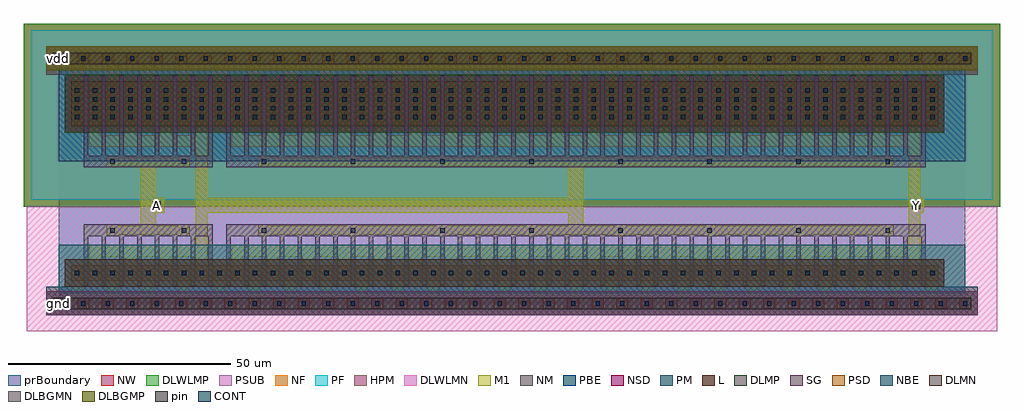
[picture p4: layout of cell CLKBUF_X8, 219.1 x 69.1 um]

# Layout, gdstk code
import gdstk
lib = gdstk.Library(unit=1e-6, precision=1e-09)
def R(c, l, rs):  # rectangles x0, y0, x1, y1
    for r in rs: c.add(gdstk.rectangle(r[:2], r[2:], *l))
def A(c, l, x, y, w, h, nx, ny, dx, dy):  # array of equal rectangles
    R(c, l, [(x+i*dx, y+j*dy, x+i*dx+w, y+j*dy+h) for i in range(nx) for j in range(ny)])
def P(c, l, *ps):  # polygons
    for p in ps: c.add(gdstk.Polygon(p, *l))
L = (3, 0)
NM = (7, 0)
SG = (8, 0)
PSD = (9, 0)
CONT = (11, 0)
M1 = (13, 0)
NF = (25, 0)
PF = (26, 0)
NSD = (28, 0)
HPM = (33, 0)
PM = (35, 0)
NW = (36, 0)
pin = (48, 1)
PSUB = (140, 0)
PBE = (146, 0)
NBE = (147, 0)
DLWLMP = (150, 0)
DLWLMN = (151, 0)
DLMP = (157, 0)
DLMN = (158, 0)
DLBGMP = (177, 0)
DLBGMN = (178, 0)
prBoundary = (235, 0)

clkbuf_x8 = lib.new_cell('CLKBUF_X8')
A(clkbuf_x8, L, -1.3, -1.3, 2.6, 2.6, 38, 2, 5.5, 55)
R(clkbuf_x8, L, [(2.8,5.1,197.4,8.5), (2.8,39.7,197.4,49.9)])
R(clkbuf_x8, NM, [(-2.75,-2.7,206.25,2.7)])
P(clkbuf_x8, NM, [(1.4,38.3),(1.4,51.3),(-2.75,51.3),(-2.75,57.7),(206.25,57.7),(206.25,51.3),(198.8,51.3),(198.8,38.3)])
P(clkbuf_x8, SG, [(5.6,3.9),(5.6,17.7),(34.6,17.7),(34.6,3.9),(33.6,3.9),(33.6,15.1),(30.6,15.1),(30.6,3.9),(29.6,3.9),(29.6,15.1),(26.6,15.1),(26.6,3.9),(25.6,3.9),(25.6,15.1),(22.6,15.1),(22.6,3.9),(21.6,3.9),(21.6,15.1),(18.6,15.1),(18.6,3.9),(17.6,3.9),(17.6,15.1),(14.6,15.1),(14.6,3.9),(13.6,3.9),(13.6,15.1),(10.6,15.1),(10.6,3.9),(9.6,3.9),(9.6,15.1),(6.6,15.1),(6.6,3.9)],
  [(37.6,3.9),(37.6,17.7),(194.6,17.7),(194.6,3.9),(193.6,3.9),(193.6,15.1),(190.6,15.1),(190.6,3.9),(189.6,3.9),(189.6,15.1),(186.6,15.1),(186.6,3.9),(185.6,3.9),(185.6,15.1),(182.6,15.1),(182.6,3.9),(181.6,3.9),(181.6,15.1),(178.6,15.1),(178.6,3.9),(177.6,3.9),(177.6,15.1),(174.6,15.1),(174.6,3.9),(173.6,3.9),(173.6,15.1),(170.6,15.1),(170.6,3.9),(169.6,3.9),(169.6,15.1),(166.6,15.1),(166.6,3.9),(165.6,3.9),(165.6,15.1),(162.6,15.1),(162.6,3.9),(161.6,3.9),(161.6,15.1),(158.6,15.1),(158.6,3.9),(157.6,3.9),(157.6,15.1),(154.6,15.1),(154.6,3.9),(153.6,3.9),(153.6,15.1),(150.6,15.1),(150.6,3.9),(149.6,3.9),(149.6,15.1),(146.6,15.1),(146.6,3.9),(145.6,3.9),(145.6,15.1),(142.6,15.1),(142.6,3.9),(141.6,3.9),(141.6,15.1),(138.6,15.1),(138.6,3.9),(137.6,3.9),(137.6,15.1),(134.6,15.1),(134.6,3.9),(133.6,3.9),(133.6,15.1),(130.6,15.1),(130.6,3.9),(129.6,3.9),(129.6,15.1),(126.6,15.1),(126.6,3.9),(125.6,3.9),(125.6,15.1),(122.6,15.1),(122.6,3.9),(121.6,3.9),(121.6,15.1),(118.6,15.1),(118.6,3.9),(117.6,3.9),(117.6,15.1),(114.6,15.1),(114.6,3.9),(113.6,3.9),(113.6,15.1),(110.6,15.1),(110.6,3.9),(109.6,3.9),(109.6,15.1),(106.6,15.1),(106.6,3.9),(105.6,3.9),(105.6,15.1),(102.6,15.1),(102.6,3.9),(101.6,3.9),(101.6,15.1),(98.6,15.1),(98.6,3.9),(97.6,3.9),(97.6,15.1),(94.6,15.1),(94.6,3.9),(93.6,3.9),(93.6,15.1),(90.6,15.1),(90.6,3.9),(89.6,3.9),(89.6,15.1),(86.6,15.1),(86.6,3.9),(85.6,3.9),(85.6,15.1),(82.6,15.1),(82.6,3.9),(81.6,3.9),(81.6,15.1),(78.6,15.1),(78.6,3.9),(77.6,3.9),(77.6,15.1),(74.6,15.1),(74.6,3.9),(73.6,3.9),(73.6,15.1),(70.6,15.1),(70.6,3.9),(69.6,3.9),(69.6,15.1),(66.6,15.1),(66.6,3.9),(65.6,3.9),(65.6,15.1),(62.6,15.1),(62.6,3.9),(61.6,3.9),(61.6,15.1),(58.6,15.1),(58.6,3.9),(57.6,3.9),(57.6,15.1),(54.6,15.1),(54.6,3.9),(53.6,3.9),(53.6,15.1),(50.6,15.1),(50.6,3.9),(49.6,3.9),(49.6,15.1),(46.6,15.1),(46.6,3.9),(45.6,3.9),(45.6,15.1),(42.6,15.1),(42.6,3.9),(41.6,3.9),(41.6,15.1),(38.6,15.1),(38.6,3.9)],
  [(5.6,30.5),(5.6,51.1),(6.6,51.1),(6.6,33.1),(9.6,33.1),(9.6,51.1),(10.6,51.1),(10.6,33.1),(13.6,33.1),(13.6,51.1),(14.6,51.1),(14.6,33.1),(17.6,33.1),(17.6,51.1),(18.6,51.1),(18.6,33.1),(21.6,33.1),(21.6,51.1),(22.6,51.1),(22.6,33.1),(25.6,33.1),(25.6,51.1),(26.6,51.1),(26.6,33.1),(29.6,33.1),(29.6,51.1),(30.6,51.1),(30.6,33.1),(33.6,33.1),(33.6,51.1),(34.6,51.1),(34.6,30.5)],
  [(37.6,30.5),(37.6,51.1),(38.6,51.1),(38.6,33.1),(41.6,33.1),(41.6,51.1),(42.6,51.1),(42.6,33.1),(45.6,33.1),(45.6,51.1),(46.6,51.1),(46.6,33.1),(49.6,33.1),(49.6,51.1),(50.6,51.1),(50.6,33.1),(53.6,33.1),(53.6,51.1),(54.6,51.1),(54.6,33.1),(57.6,33.1),(57.6,51.1),(58.6,51.1),(58.6,33.1),(61.6,33.1),(61.6,51.1),(62.6,51.1),(62.6,33.1),(65.6,33.1),(65.6,51.1),(66.6,51.1),(66.6,33.1),(69.6,33.1),(69.6,51.1),(70.6,51.1),(70.6,33.1),(73.6,33.1),(73.6,51.1),(74.6,51.1),(74.6,33.1),(77.6,33.1),(77.6,51.1),(78.6,51.1),(78.6,33.1),(81.6,33.1),(81.6,51.1),(82.6,51.1),(82.6,33.1),(85.6,33.1),(85.6,51.1),(86.6,51.1),(86.6,33.1),(89.6,33.1),(89.6,51.1),(90.6,51.1),(90.6,33.1),(93.6,33.1),(93.6,51.1),(94.6,51.1),(94.6,33.1),(97.6,33.1),(97.6,51.1),(98.6,51.1),(98.6,33.1),(101.6,33.1),(101.6,51.1),(102.6,51.1),(102.6,33.1),(105.6,33.1),(105.6,51.1),(106.6,51.1),(106.6,33.1),(109.6,33.1),(109.6,51.1),(110.6,51.1),(110.6,33.1),(113.6,33.1),(113.6,51.1),(114.6,51.1),(114.6,33.1),(117.6,33.1),(117.6,51.1),(118.6,51.1),(118.6,33.1),(121.6,33.1),(121.6,51.1),(122.6,51.1),(122.6,33.1),(125.6,33.1),(125.6,51.1),(126.6,51.1),(126.6,33.1),(129.6,33.1),(129.6,51.1),(130.6,51.1),(130.6,33.1),(133.6,33.1),(133.6,51.1),(134.6,51.1),(134.6,33.1),(137.6,33.1),(137.6,51.1),(138.6,51.1),(138.6,33.1),(141.6,33.1),(141.6,51.1),(142.6,51.1),(142.6,33.1),(145.6,33.1),(145.6,51.1),(146.6,51.1),(146.6,33.1),(149.6,33.1),(149.6,51.1),(150.6,51.1),(150.6,33.1),(153.6,33.1),(153.6,51.1),(154.6,51.1),(154.6,33.1),(157.6,33.1),(157.6,51.1),(158.6,51.1),(158.6,33.1),(161.6,33.1),(161.6,51.1),(162.6,51.1),(162.6,33.1),(165.6,33.1),(165.6,51.1),(166.6,51.1),(166.6,33.1),(169.6,33.1),(169.6,51.1),(170.6,51.1),(170.6,33.1),(173.6,33.1),(173.6,51.1),(174.6,51.1),(174.6,33.1),(177.6,33.1),(177.6,51.1),(178.6,51.1),(178.6,33.1),(181.6,33.1),(181.6,51.1),(182.6,51.1),(182.6,33.1),(185.6,33.1),(185.6,51.1),(186.6,51.1),(186.6,33.1),(189.6,33.1),(189.6,51.1),(190.6,51.1),(190.6,33.1),(193.6,33.1),(193.6,51.1),(194.6,51.1),(194.6,30.5)])
R(clkbuf_x8, PSD, [(1.4,3.7,198.8,9.9), (-2.75,52.3,206.25,57.7)])
A(clkbuf_x8, CONT, -0.5, -0.5, 1, 1, 38, 2, 5.5, 55)
A(clkbuf_x8, CONT, 3.6, 6.3, 1, 1, 9, 2, 4, 35)
A(clkbuf_x8, CONT, 35.6, 6.3, 1, 1, 41, 2, 4, 35)
A(clkbuf_x8, CONT, 45.6, 15.9, 1, 1, 8, 2, 20, 15.4)
A(clkbuf_x8, CONT, 3.6, 43.3, 1, 1, 9, 3, 4, 2)
A(clkbuf_x8, CONT, 35.6, 43.3, 1, 1, 41, 3, 4, 2)
R(clkbuf_x8, CONT, [(11.6,15.9,12.6,16.9), (27.6,15.9,28.6,16.9), (11.6,31.3,12.6,32.3), (27.6,31.3,28.6,32.3)])
P(clkbuf_x8, M1, [(-1.3,-1.3),(-1.3,1.3),(2.8,1.3),(2.8,8.5),(5.4,8.5),(5.4,1.3),(10.8,1.3),(10.8,8.5),(13.4,8.5),(13.4,1.3),(18.8,1.3),(18.8,8.5),(21.4,8.5),(21.4,1.3),(26.8,1.3),(26.8,8.5),(29.4,8.5),(29.4,1.3),(34.8,1.3),(34.8,8.5),(37.4,8.5),(37.4,1.3),(42.8,1.3),(42.8,8.5),(45.4,8.5),(45.4,1.3),(50.8,1.3),(50.8,8.5),(53.4,8.5),(53.4,1.3),(58.8,1.3),(58.8,8.5),(61.4,8.5),(61.4,1.3),(66.8,1.3),(66.8,8.5),(69.4,8.5),(69.4,1.3),(74.8,1.3),(74.8,8.5),(77.4,8.5),(77.4,1.3),(82.8,1.3),(82.8,8.5),(85.4,8.5),(85.4,1.3),(90.8,1.3),(90.8,8.5),(93.4,8.5),(93.4,1.3),(98.8,1.3),(98.8,8.5),(101.4,8.5),(101.4,1.3),(106.8,1.3),(106.8,8.5),(109.4,8.5),(109.4,1.3),(114.8,1.3),(114.8,8.5),(117.4,8.5),(117.4,1.3),(122.8,1.3),(122.8,8.5),(125.4,8.5),(125.4,1.3),(130.8,1.3),(130.8,8.5),(133.4,8.5),(133.4,1.3),(138.8,1.3),(138.8,8.5),(141.4,8.5),(141.4,1.3),(146.8,1.3),(146.8,8.5),(149.4,8.5),(149.4,1.3),(154.8,1.3),(154.8,8.5),(157.4,8.5),(157.4,1.3),(162.8,1.3),(162.8,8.5),(165.4,8.5),(165.4,1.3),(170.8,1.3),(170.8,8.5),(173.4,8.5),(173.4,1.3),(178.8,1.3),(178.8,8.5),(181.4,8.5),(181.4,1.3),(186.8,1.3),(186.8,8.5),(189.4,8.5),(189.4,1.3),(194.8,1.3),(194.8,8.5),(197.4,8.5),(197.4,1.3),(204.8,1.3),(204.8,-1.3)],
  [(10.8,15.1),(10.8,17.7),(13.4,17.7),(13.4,17.4),(18.4,17.4),(18.4,30.8),(13.4,30.8),(13.4,30.5),(10.8,30.5),(10.8,33.1),(13.4,33.1),(13.4,32.8),(26.8,32.8),(26.8,33.1),(29.4,33.1),(29.4,30.5),(26.8,30.5),(26.8,30.8),(21.8,30.8),(21.8,23.7),(23.7,23.7),(23.7,20.3),(21.8,20.3),(21.8,17.4),(26.8,17.4),(26.8,17.7),(29.4,17.7),(29.4,15.1),(26.8,15.1),(26.8,15.4),(13.4,15.4),(13.4,15.1)],
  [(6.8,5.1),(6.8,13.1),(30.8,13.1),(30.8,35.1),(6.8,35.1),(6.8,49.9),(9.4,49.9),(9.4,37.7),(14.8,37.7),(14.8,49.9),(17.4,49.9),(17.4,37.7),(22.8,37.7),(22.8,49.9),(25.4,49.9),(25.4,37.7),(30.8,37.7),(30.8,49.9),(33.4,49.9),(33.4,23.7),(114.4,23.7),(114.4,30.8),(107.4,30.8),(107.4,30.5),(104.8,30.5),(104.8,30.8),(87.4,30.8),(87.4,30.5),(84.8,30.5),(84.8,30.8),(67.4,30.8),(67.4,30.5),(64.8,30.5),(64.8,30.8),(47.4,30.8),(47.4,30.5),(44.8,30.5),(44.8,33.1),(47.4,33.1),(47.4,32.8),(64.8,32.8),(64.8,33.1),(67.4,33.1),(67.4,32.8),(84.8,32.8),(84.8,33.1),(87.4,33.1),(87.4,32.8),(104.8,32.8),(104.8,33.1),(107.4,33.1),(107.4,32.8),(124.8,32.8),(124.8,33.1),(127.4,33.1),(127.4,32.8),(144.8,32.8),(144.8,33.1),(147.4,33.1),(147.4,32.8),(164.8,32.8),(164.8,33.1),(167.4,33.1),(167.4,32.8),(184.8,32.8),(184.8,33.1),(187.4,33.1),(187.4,30.5),(184.8,30.5),(184.8,30.8),(167.4,30.8),(167.4,30.5),(164.8,30.5),(164.8,30.8),(147.4,30.8),(147.4,30.5),(144.8,30.5),(144.8,30.8),(127.4,30.8),(127.4,30.5),(124.8,30.5),(124.8,30.8),(117.8,30.8),(117.8,17.4),(124.8,17.4),(124.8,17.7),(127.4,17.7),(127.4,17.4),(144.8,17.4),(144.8,17.7),(147.4,17.7),(147.4,17.4),(164.8,17.4),(164.8,17.7),(167.4,17.7),(167.4,17.4),(184.8,17.4),(184.8,17.7),(187.4,17.7),(187.4,15.1),(184.8,15.1),(184.8,15.4),(167.4,15.4),(167.4,15.1),(164.8,15.1),(164.8,15.4),(147.4,15.4),(147.4,15.1),(144.8,15.1),(144.8,15.4),(127.4,15.4),(127.4,15.1),(124.8,15.1),(124.8,15.4),(107.4,15.4),(107.4,15.1),(104.8,15.1),(104.8,15.4),(87.4,15.4),(87.4,15.1),(84.8,15.1),(84.8,15.4),(67.4,15.4),(67.4,15.1),(64.8,15.1),(64.8,15.4),(47.4,15.4),(47.4,15.1),(44.8,15.1),(44.8,17.7),(47.4,17.7),(47.4,17.4),(64.8,17.4),(64.8,17.7),(67.4,17.7),(67.4,17.4),(84.8,17.4),(84.8,17.7),(87.4,17.7),(87.4,17.4),(104.8,17.4),(104.8,17.7),(107.4,17.7),(107.4,17.4),(114.4,17.4),(114.4,20.3),(33.4,20.3),(33.4,5.1),(30.8,5.1),(30.8,10.5),(25.4,10.5),(25.4,5.1),(22.8,5.1),(22.8,10.5),(17.4,10.5),(17.4,5.1),(14.8,5.1),(14.8,10.5),(9.4,10.5),(9.4,5.1)],
  [(38.8,5.1),(38.8,13.1),(190.8,13.1),(190.8,35.1),(38.8,35.1),(38.8,49.9),(41.4,49.9),(41.4,37.7),(46.8,37.7),(46.8,49.9),(49.4,49.9),(49.4,37.7),(54.8,37.7),(54.8,49.9),(57.4,49.9),(57.4,37.7),(62.8,37.7),(62.8,49.9),(65.4,49.9),(65.4,37.7),(70.8,37.7),(70.8,49.9),(73.4,49.9),(73.4,37.7),(78.8,37.7),(78.8,49.9),(81.4,49.9),(81.4,37.7),(86.8,37.7),(86.8,49.9),(89.4,49.9),(89.4,37.7),(94.8,37.7),(94.8,49.9),(97.4,49.9),(97.4,37.7),(102.8,37.7),(102.8,49.9),(105.4,49.9),(105.4,37.7),(110.8,37.7),(110.8,49.9),(113.4,49.9),(113.4,37.7),(118.8,37.7),(118.8,49.9),(121.4,49.9),(121.4,37.7),(126.8,37.7),(126.8,49.9),(129.4,49.9),(129.4,37.7),(134.8,37.7),(134.8,49.9),(137.4,49.9),(137.4,37.7),(142.8,37.7),(142.8,49.9),(145.4,49.9),(145.4,37.7),(150.8,37.7),(150.8,49.9),(153.4,49.9),(153.4,37.7),(158.8,37.7),(158.8,49.9),(161.4,49.9),(161.4,37.7),(166.8,37.7),(166.8,49.9),(169.4,49.9),(169.4,37.7),(174.8,37.7),(174.8,49.9),(177.4,49.9),(177.4,37.7),(182.8,37.7),(182.8,49.9),(185.4,49.9),(185.4,37.7),(190.8,37.7),(190.8,49.9),(193.4,49.9),(193.4,23.7),(194.2,23.7),(194.2,20.3),(193.4,20.3),(193.4,5.1),(190.8,5.1),(190.8,10.5),(185.4,10.5),(185.4,5.1),(182.8,5.1),(182.8,10.5),(177.4,10.5),(177.4,5.1),(174.8,5.1),(174.8,10.5),(169.4,10.5),(169.4,5.1),(166.8,5.1),(166.8,10.5),(161.4,10.5),(161.4,5.1),(158.8,5.1),(158.8,10.5),(153.4,10.5),(153.4,5.1),(150.8,5.1),(150.8,10.5),(145.4,10.5),(145.4,5.1),(142.8,5.1),(142.8,10.5),(137.4,10.5),(137.4,5.1),(134.8,5.1),(134.8,10.5),(129.4,10.5),(129.4,5.1),(126.8,5.1),(126.8,10.5),(121.4,10.5),(121.4,5.1),(118.8,5.1),(118.8,10.5),(113.4,10.5),(113.4,5.1),(110.8,5.1),(110.8,10.5),(105.4,10.5),(105.4,5.1),(102.8,5.1),(102.8,10.5),(97.4,10.5),(97.4,5.1),(94.8,5.1),(94.8,10.5),(89.4,10.5),(89.4,5.1),(86.8,5.1),(86.8,10.5),(81.4,10.5),(81.4,5.1),(78.8,5.1),(78.8,10.5),(73.4,10.5),(73.4,5.1),(70.8,5.1),(70.8,10.5),(65.4,10.5),(65.4,5.1),(62.8,5.1),(62.8,10.5),(57.4,10.5),(57.4,5.1),(54.8,5.1),(54.8,10.5),(49.4,10.5),(49.4,5.1),(46.8,5.1),(46.8,10.5),(41.4,10.5),(41.4,5.1)],
  [(2.8,39.7),(2.8,53.7),(-1.3,53.7),(-1.3,56.3),(204.8,56.3),(204.8,53.7),(197.4,53.7),(197.4,39.7),(194.8,39.7),(194.8,53.7),(189.4,53.7),(189.4,39.7),(186.8,39.7),(186.8,53.7),(181.4,53.7),(181.4,39.7),(178.8,39.7),(178.8,53.7),(173.4,53.7),(173.4,39.7),(170.8,39.7),(170.8,53.7),(165.4,53.7),(165.4,39.7),(162.8,39.7),(162.8,53.7),(157.4,53.7),(157.4,39.7),(154.8,39.7),(154.8,53.7),(149.4,53.7),(149.4,39.7),(146.8,39.7),(146.8,53.7),(141.4,53.7),(141.4,39.7),(138.8,39.7),(138.8,53.7),(133.4,53.7),(133.4,39.7),(130.8,39.7),(130.8,53.7),(125.4,53.7),(125.4,39.7),(122.8,39.7),(122.8,53.7),(117.4,53.7),(117.4,39.7),(114.8,39.7),(114.8,53.7),(109.4,53.7),(109.4,39.7),(106.8,39.7),(106.8,53.7),(101.4,53.7),(101.4,39.7),(98.8,39.7),(98.8,53.7),(93.4,53.7),(93.4,39.7),(90.8,39.7),(90.8,53.7),(85.4,53.7),(85.4,39.7),(82.8,39.7),(82.8,53.7),(77.4,53.7),(77.4,39.7),(74.8,39.7),(74.8,53.7),(69.4,53.7),(69.4,39.7),(66.8,39.7),(66.8,53.7),(61.4,53.7),(61.4,39.7),(58.8,39.7),(58.8,53.7),(53.4,53.7),(53.4,39.7),(50.8,39.7),(50.8,53.7),(45.4,53.7),(45.4,39.7),(42.8,39.7),(42.8,53.7),(37.4,53.7),(37.4,39.7),(34.8,39.7),(34.8,53.7),(29.4,53.7),(29.4,39.7),(26.8,39.7),(26.8,53.7),(21.4,53.7),(21.4,39.7),(18.8,39.7),(18.8,53.7),(13.4,53.7),(13.4,39.7),(10.8,39.7),(10.8,53.7),(5.4,53.7),(5.4,39.7)])
R(clkbuf_x8, NF, [(-6.3,23.2,209.8,61.3)])
R(clkbuf_x8, PF, [(-6.3,23.2,209.8,61.3)])
R(clkbuf_x8, NSD, [(-2.75,-2.7,206.25,2.7), (1.4,38.3,198.8,51.3)])
P(clkbuf_x8, HPM, [(-2.75,-2.7),(-2.75,3.7),(1.4,3.7),(1.4,9.9),(198.8,9.9),(198.8,3.7),(206.25,3.7),(206.25,-2.7)],
  [(1.4,38.3),(1.4,51.3),(-2.75,51.3),(-2.75,57.7),(206.25,57.7),(206.25,51.3),(198.8,51.3),(198.8,38.3)])
R(clkbuf_x8, PM, [(-2.75,52.3,206.25,57.7)])
P(clkbuf_x8, PM, [(-2.75,-2.7),(-2.75,3.7),(1.4,3.7),(1.4,9.9),(198.8,9.9),(198.8,3.7),(206.25,3.7),(206.25,-2.7)])
R(clkbuf_x8, NW, [(-7.8,21.7,211.3,62.8)])
R(clkbuf_x8, pin, [(-1.3,-1.3,204.8,1.3), (21.1,21.1,22.9,22.9), (21.1,21.1,22.9,22.9), (191.6,21.1,193.4,22.9), (-1.3,53.7,204.8,56.3)])
R(clkbuf_x8, PSUB, [(-6.3,23.2,209.8,61.3)])
R(clkbuf_x8, PBE, [(0,31.9,203.5,52.7)])
R(clkbuf_x8, NBE, [(0,2.3,203.5,13.1)])
R(clkbuf_x8, DLWLMP, [(-7.8,21.7,211.3,62.8)])
R(clkbuf_x8, DLWLMN, [(-7.2,-6.3,210.7,21.7)])
R(clkbuf_x8, DLMP, [(1.4,38.3,198.8,51.3)])
R(clkbuf_x8, DLMN, [(1.4,3.7,198.8,9.9)])
R(clkbuf_x8, DLBGMP, [(-2.75,52.3,206.25,57.7)])
R(clkbuf_x8, DLBGMN, [(-2.75,-2.7,206.25,2.7)])
R(clkbuf_x8, prBoundary, [(0,0,203.5,55)])
clkbuf_x8.add(gdstk.Label('A', (22,22), layer=48, texttype=0))
clkbuf_x8.add(gdstk.Label('Y', (192.5,22), layer=48, texttype=0))
clkbuf_x8.add(gdstk.Label('vdd', (0,55), layer=48, texttype=0))
clkbuf_x8.add(gdstk.Label('gnd', (0,0), layer=48, texttype=0))

lib.write_gds('CLKBUF_X8.gds')
